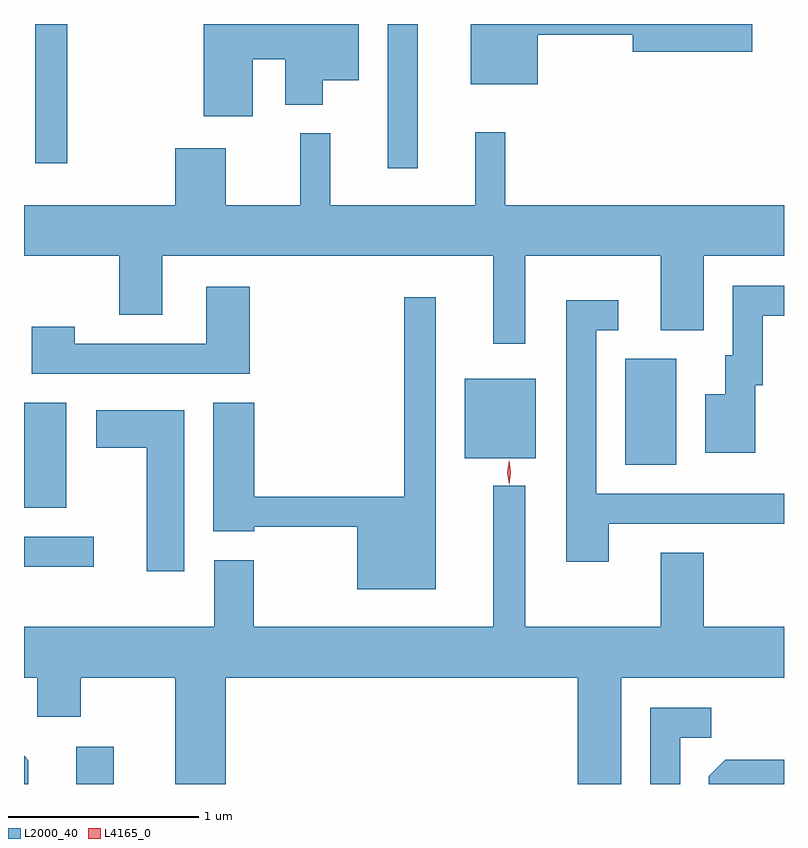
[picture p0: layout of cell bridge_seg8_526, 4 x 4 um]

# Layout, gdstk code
import gdstk
lib = gdstk.Library(unit=1e-6, precision=1e-09)
def R(c, l, rs):  # rectangles x0, y0, x1, y1
    for r in rs: c.add(gdstk.rectangle(r[:2], r[2:], *l))
def P(c, l, *ps):  # polygons
    for p in ps: c.add(gdstk.Polygon(p, *l))
L2000_40 = (2000, 40)
L4165_0 = (4165, 0)

bridge_seg8_526 = lib.new_cell('bridge_seg8_526')
R(bridge_seg8_526, L2000_40, [(214.556,1864.717,214.754,1864.914), (214.281,1865.861,214.648,1866.019), (214.281,1866.171,214.504,1866.724), (217.446,1866.396,217.714,1866.954), (216.601,1866.431,216.974,1866.849), (216.196,1867.958,216.354,1868.717), (214.341,1867.983,214.509,1868.717)])
P(bridge_seg8_526, L2000_40, [(216.984,1868.661),(217.486,1868.661),(217.486,1868.571),(218.114,1868.571),(218.114,1868.717),(216.631,1868.717),(216.631,1868.401),(216.984,1868.401)],
  [(215.484,1868.531),(215.656,1868.531),(215.656,1868.291),(215.854,1868.291),(215.854,1868.421),(216.044,1868.421),(216.044,1868.717),(215.226,1868.717),(215.226,1868.231),(215.484,1868.231)],
  [(216.919,1867.496),(217.631,1867.496),(217.631,1867.106),(217.859,1867.106),(217.859,1867.496),(218.281,1867.496),(218.281,1867.764),(216.814,1867.764),(216.814,1868.148),(216.656,1868.148),(216.656,1867.764),(215.894,1867.764),(215.894,1868.143),(215.736,1868.143),(215.736,1867.764),(215.344,1867.764),(215.344,1868.064),(215.076,1868.064),(215.076,1867.764),(214.281,1867.764),(214.281,1867.496),(214.781,1867.496),(214.781,1867.186),(215.009,1867.186),(215.009,1867.496),(216.751,1867.496),(216.751,1867.033),(216.919,1867.033)],
  [(218.129,1866.816),(218.169,1866.816),(218.169,1867.181),(218.281,1867.181),(218.281,1867.339),(218.011,1867.339),(218.011,1866.974),(217.971,1866.974),(217.971,1866.769),(217.866,1866.769),(217.866,1866.461),(218.129,1866.461)],
  [(215.469,1867.334),(215.241,1867.334),(215.241,1867.034),(214.549,1867.034),(214.549,1867.124),(214.321,1867.124),(214.321,1866.876),(215.469,1866.876)],
  [(216.449,1867.278),(216.281,1867.278),(216.281,1866.229),(215.494,1866.229),(215.494,1866.724),(215.276,1866.724),(215.276,1866.046),(215.494,1866.046),(215.494,1866.071),(216.036,1866.071),(216.036,1865.741),(216.449,1865.741)],
  [(217.359,1866.086),(218.281,1866.086),(218.281,1866.244),(217.294,1866.244),(217.294,1867.106),(217.408,1867.106),(217.408,1867.264),(217.136,1867.264),(217.136,1865.886),(217.359,1865.886)],
  [(215.124,1866.684),(214.661,1866.684),(214.661,1866.486),(214.926,1866.486),(214.926,1865.836),(215.124,1865.836)],
  [(215.344,1865.276),(217.196,1865.276),(217.196,1864.717),(217.424,1864.717),(217.424,1865.276),(218.281,1865.276),(218.281,1865.544),(217.859,1865.544),(217.859,1865.934),(217.631,1865.934),(217.631,1865.544),(216.919,1865.544),(216.919,1866.288),(216.751,1866.288),(216.751,1865.544),(215.489,1865.544),(215.489,1865.894),(215.281,1865.894),(215.281,1865.544),(214.281,1865.544),(214.281,1865.276),(214.351,1865.276),(214.351,1865.071),(214.579,1865.071),(214.579,1865.276),(215.076,1865.276),(215.076,1864.717),(215.344,1864.717)],
  [(217.734,1864.961),(217.898,1864.961),(217.898,1865.119),(217.576,1865.119),(217.576,1864.717),(217.734,1864.717)],
  [(214.304,1864.842),(214.281,1864.865),(214.281,1864.717),(214.304,1864.717)],
  [(218.281,1864.844),(217.972,1864.844),(217.886,1864.759),(217.886,1864.717),(218.281,1864.717)])
P(bridge_seg8_526, L4165_0, [(216.834,1866.293),(216.825,1866.357),(216.834,1866.421),(216.834,1866.422),(216.835,1866.421),(216.844,1866.357),(216.835,1866.293),(216.835,1866.293)])

lib.write_gds('bridge_seg8_526.gds')
